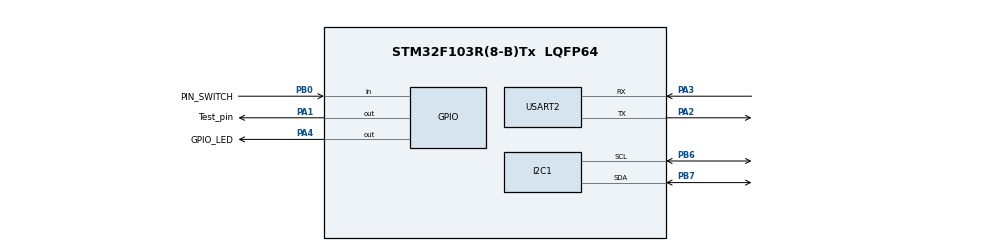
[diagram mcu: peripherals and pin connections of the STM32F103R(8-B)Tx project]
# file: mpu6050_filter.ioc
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FREERTOS.Tasks01=defaultTask,24,128,StartDefaultTask,Default,NULL,Dynamic,NULL,NULL;myTask02,8,128,StartTask02,Default,NULL,Dynamic,NULL,NULL;myTask03,8,128,StartTask03,Default,NULL,Dynamic,NULL,NULL
FREERTOS.configUSE_NEWLIB_REENTRANT=1
Mcu.Family=STM32F1
Mcu.Name=STM32F103R(8-B)Tx
Mcu.Package=LQFP64
NVIC.I2C1_ER_IRQn=true\:5\:0\:false\:false\:true\:true\:true\:true\:true
NVIC.I2C1_EV_IRQn=true\:5\:0\:false\:false\:true\:true\:true\:true\:true
NVIC.PriorityGroup=NVIC_PRIORITYGROUP_4
NVIC.TIM4_IRQn=true\:15\:0\:false\:false\:true\:false\:false\:true\:true
NVIC.TimeBase=TIM4_IRQn
NVIC.TimeBaseIP=TIM4
PA1.GPIO_Label=Test_pin
PA1.GPIO_ModeDefaultOutputPP=GPIO_MODE_OUTPUT_PP
PA1.GPIO_PuPd=GPIO_NOPULL
PA1.GPIO_Speed=GPIO_SPEED_FREQ_MEDIUM
PA1.PinState=GPIO_PIN_SET
PA1.Signal=GPIO_Output
PA13.Mode=Serial_Wire
PA13.Signal=SYS_JTMS-SWDIO
PA14.Mode=Serial_Wire
PA14.Signal=SYS_JTCK-SWCLK
PA2.Mode=Asynchronous
PA2.Signal=USART2_TX
PA3.Mode=Asynchronous
PA3.Signal=USART2_RX
PA4.GPIO_Label=GPIO_LED
PA4.PinState=GPIO_PIN_SET
PA4.Signal=GPIO_Output
PB0.GPIO_Label=PIN_SWITCH
PB0.GPIO_PuPd=GPIO_PULLUP
PB0.Signal=GPIO_Input
PB6.Mode=I2C
PB6.Signal=I2C1_SCL
PB7.Mode=I2C
PB7.Signal=I2C1_SDA
ProjectManager.HeapSize=0x200
ProjectManager.StackSize=0x400
ProjectManager.TargetToolchain=STM32CubeIDE
RCC.APB1Freq_Value=8000000
RCC.APB2Freq_Value=8000000
USART2.VirtualMode=VM_ASYNC
VP_FREERTOS_VS_CMSIS_V2.Mode=CMSIS_V2
VP_SYS_VS_tim4.Mode=TIM4
board=custom

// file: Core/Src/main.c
/* USER CODE BEGIN Header */
/**
  ******************************************************************************
  * @file           : main.c
  * @brief          : Main program body
  ******************************************************************************
  * @attention
  *
  * Copyright (c) 2024 STMicroelectronics.
  * All rights reserved.
  *
  * This software is licensed under terms that can be found in the LICENSE file
  * in the root directory of this software component.
  * If no LICENSE file comes with this software, it is provided AS-IS.
  *
  ******************************************************************************
  */
/* USER CODE END Header */
#include "main.h"
#include "cmsis_os.h"

/* USER CODE BEGIN Includes */
#include "MPU6050.h"
#include "math.h"
/* USER CODE END Includes */

I2C_HandleTypeDef hi2c1;

UART_HandleTypeDef huart2;

/* Definitions for defaultTask */
osThreadId_t defaultTaskHandle;
const osThreadAttr_t defaultTask_attributes = {
  .name = "defaultTask",
  .stack_size = 128 * 4,
  .priority = (osPriority_t) osPriorityNormal,
};
/* Definitions for myTask02 */
osThreadId_t myTask02Handle;
const osThreadAttr_t myTask02_attributes = {
  .name = "myTask02",
  .stack_size = 128 * 4,
  .priority = (osPriority_t) osPriorityLow,
};
/* Definitions for myTask03 */
osThreadId_t myTask03Handle;
const osThreadAttr_t myTask03_attributes = {
  .name = "myTask03",
  .stack_size = 128 * 4,
  .priority = (osPriority_t) osPriorityLow,
};

void SystemClock_Config(void);
static void MX_GPIO_Init(void);
static void MX_I2C1_Init(void);
static void MX_USART2_UART_Init(void);
void StartDefaultTask(void *argument);
void StartTask02(void *argument);
void StartTask03(void *argument);

/* USER CODE BEGIN 0 */
int16_t Ac_X0, Ac_Y0, Ac_Z0, Gy_X0, Gy_Y0, Gy_Z0;
float Ac_X1, Ac_Y1, Ac_Z1, Gy_X1, Gy_Y1, Gy_Z1;
float Ac_X2, Ac_Y2, Ac_Z2;
float Deg_X, Deg_Y, Deg_Z, Deg_XC, Deg_YC, Deg_ZC;
uint8_t MPU6050 = 0;
//#define MPU6050  MPU6050_DEFAULT_ADDRESS

void MPU6050_Write(uint8_t Address, uint8_t data){
  HAL_I2C_Mem_Write(&hi2c1, MPU6050, Address, 1, (uint8_t *)&data, 1, 10);
}

void MPU6050_Write_bits(uint8_t Address, uint8_t bitStart, uint8_t length, uint8_t data){
  uint8_t tmp = 0;
  HAL_I2C_Mem_Read(&hi2c1, MPU6050, Address, 1, (uint8_t *)&tmp, 1, 10);
  uint8_t mask = 0;
  switch(length){
    case 1: mask = 0x01; break;
    case 2: mask = 0x03; break;
    case 3: mask = 0x07; break;
    case 4: mask = 0x0F; break;
    case 5: mask = 0x1F; break;
    case 6: mask = 0x3F; break;
    case 7: mask = 0x7F; break;
    case 8: mask = 0xFF; break;
  }
  tmp &= ~(mask << bitStart);
  tmp |= (data << bitStart);
  HAL_I2C_Mem_Write(&hi2c1, MPU6050, Address, 1, (uint8_t *)&tmp, 1, 10);
}

uint8_t MPU6050_Read(uint8_t Address){
  uint8_t data;
  HAL_I2C_Mem_Read(&hi2c1, MPU6050, Address, 1, (uint8_t *)&data, 1, 10);
  return data;
}

void init_MPU6050(void){
  while(HAL_I2C_IsDeviceReady(&hi2c1, MPU6050, 10, 1000)!=HAL_OK) {
    MPU6050++;
  }
  //printf("MPU6050 I2C Address is 0x%02X(7bit value)\r\n", MPU6050>>1);

  uint8_t temp = MPU6050_Read(MPU6050_RA_WHO_AM_I);
  //printf("Who am I = 0x%02X\r\n", temp);
  //printf("MPU6050 Initialize..... \r\n");
  //printf("--------------------------------------------------------\r\n");

  HAL_Delay(100);
   /* Power Management 1, SLEEP Diasble*/
  MPU6050_Write_bits(MPU6050_RA_PWR_MGMT_1, MPU6050_PWR1_SLEEP_BIT, MPU6050_PWR1_SLEEP_LENGTH, DISABLE);
  HAL_Delay(10);
  /* Power Management 1, Internal 8MHz oscillator */
  MPU6050_Write_bits(MPU6050_RA_PWR_MGMT_1, MPU6050_PWR1_CLKSEL_BIT, MPU6050_PWR1_CLKSEL_LENGTH, MPU6050_CLOCK_INTERNAL);
  /* Gyroscope Configuration, ± 250 °/s, 131 LSB/°/s */
  MPU6050_Write_bits(MPU6050_RA_GYRO_CONFIG, MPU6050_GCONFIG_FS_SEL_BIT, MPU6050_GCONFIG_FS_SEL_LENGTH, MPU6050_GYRO_FS_250);
  /* Accelerometer Configuration, ± 2g, 16384 LSB/g */
  MPU6050_Write_bits(MPU6050_RA_ACCEL_CONFIG, MPU6050_ACONFIG_AFS_SEL_BIT, MPU6050_ACONFIG_AFS_SEL_LENGTH, MPU6050_ACCEL_FS_2);
}

void read_MPU6050_data(void){
  Ac_X0 = (MPU6050_Read(MPU6050_RA_ACCEL_XOUT_H)<<8) | MPU6050_Read(MPU6050_RA_ACCEL_XOUT_L);
  Ac_Y0 = (MPU6050_Read(MPU6050_RA_ACCEL_YOUT_H)<<8) | MPU6050_Read(MPU6050_RA_ACCEL_YOUT_L);
  Ac_Z0 = (MPU6050_Read(MPU6050_RA_ACCEL_ZOUT_H)<<8) | MPU6050_Read(MPU6050_RA_ACCEL_ZOUT_L);
  Gy_X0 = (MPU6050_Read(MPU6050_RA_GYRO_XOUT_H)<<8) | MPU6050_Read(MPU6050_RA_GYRO_XOUT_L);
  Gy_Y0 = (MPU6050_Read(MPU6050_RA_GYRO_YOUT_H)<<8) | MPU6050_Read(MPU6050_RA_GYRO_YOUT_L);
  Gy_Z0 = (MPU6050_Read(MPU6050_RA_GYRO_ZOUT_H)<<8) | MPU6050_Read(MPU6050_RA_GYRO_ZOUT_L);
}

int _write(int32_t file, uint8_t *ptr, int32_t len){
  HAL_UART_Transmit(&huart2, ptr, len, 10);
  return len;
}

/* USER CODE END 0 */

int main(void)
{

  /* MCU Configuration--------------------------------------------------------*/

  /* Reset of all peripherals, Initializes the Flash interface and the Systick. */
  HAL_Init();

  /* Configure the system clock */
  SystemClock_Config();

  /* Initialize all configured peripherals */
  MX_GPIO_Init();
  MX_I2C1_Init();
  MX_USART2_UART_Init();
  /* USER CODE BEGIN 2 */
  init_MPU6050();
  /* USER CODE END 2 */

  /* Init scheduler */
  osKernelInitialize();

  /* Create the thread(s) */
  /* creation of defaultTask */
  defaultTaskHandle = osThreadNew(StartDefaultTask, NULL, &defaultTask_attributes);

  /* creation of myTask02 */
  myTask02Handle = osThreadNew(StartTask02, NULL, &myTask02_attributes);

  /* creation of myTask03 */
  myTask03Handle = osThreadNew(StartTask03, NULL, &myTask03_attributes);

  /* Start scheduler */
  osKernelStart();

  /* We should never get here as control is now taken by the scheduler */

  /* Infinite loop */
  while (1)
  {

  }
}

void SystemClock_Config(void)
{
  RCC_OscInitTypeDef RCC_OscInitStruct = {0};
  RCC_ClkInitTypeDef RCC_ClkInitStruct = {0};

  /** Initializes the RCC Oscillators according to the specified parameters
  * in the RCC_OscInitTypeDef structure.
  */
  RCC_OscInitStruct.OscillatorType = RCC_OSCILLATORTYPE_HSI;
  RCC_OscInitStruct.HSIState = RCC_HSI_ON;
  RCC_OscInitStruct.HSICalibrationValue = RCC_HSICALIBRATION_DEFAULT;
  RCC_OscInitStruct.PLL.PLLState = RCC_PLL_NONE;
  if (HAL_RCC_OscConfig(&RCC_OscInitStruct) != HAL_OK)
  {
    Error_Handler();
  }

  /** Initializes the CPU, AHB and APB buses clocks
  */
  RCC_ClkInitStruct.ClockType = RCC_CLOCKTYPE_HCLK|RCC_CLOCKTYPE_SYSCLK
                              |RCC_CLOCKTYPE_PCLK1|RCC_CLOCKTYPE_PCLK2;
  RCC_ClkInitStruct.SYSCLKSource = RCC_SYSCLKSOURCE_HSI;
  RCC_ClkInitStruct.AHBCLKDivider = RCC_SYSCLK_DIV1;
  RCC_ClkInitStruct.APB1CLKDivider = RCC_HCLK_DIV1;
  RCC_ClkInitStruct.APB2CLKDivider = RCC_HCLK_DIV1;

  if (HAL_RCC_ClockConfig(&RCC_ClkInitStruct, FLASH_LATENCY_0) != HAL_OK)
  {
    Error_Handler();
  }
}

static void MX_I2C1_Init(void)
{

  hi2c1.Instance = I2C1;
  hi2c1.Init.ClockSpeed = 100000;
  hi2c1.Init.DutyCycle = I2C_DUTYCYCLE_2;
  hi2c1.Init.OwnAddress1 = 0;
  hi2c1.Init.AddressingMode = I2C_ADDRESSINGMODE_7BIT;
  hi2c1.Init.DualAddressMode = I2C_DUALADDRESS_DISABLE;
  hi2c1.Init.OwnAddress2 = 0;
  hi2c1.Init.GeneralCallMode = I2C_GENERALCALL_DISABLE;
  hi2c1.Init.NoStretchMode = I2C_NOSTRETCH_DISABLE;
  if (HAL_I2C_Init(&hi2c1) != HAL_OK)
  {
    Error_Handler();
  }

}

static void MX_USART2_UART_Init(void)
{

  huart2.Instance = USART2;
  huart2.Init.BaudRate = 115200;
  huart2.Init.WordLength = UART_WORDLENGTH_8B;
  huart2.Init.StopBits = UART_STOPBITS_1;
  huart2.Init.Parity = UART_PARITY_NONE;
  huart2.Init.Mode = UART_MODE_TX_RX;
  huart2.Init.HwFlowCtl = UART_HWCONTROL_NONE;
  huart2.Init.OverSampling = UART_OVERSAMPLING_16;
  if (HAL_UART_Init(&huart2) != HAL_OK)
  {
    Error_Handler();
  }

}

static void MX_GPIO_Init(void)
{
  GPIO_InitTypeDef GPIO_InitStruct = {0};

  /* GPIO Ports Clock Enable */
  __HAL_RCC_GPIOA_CLK_ENABLE();
  __HAL_RCC_GPIOB_CLK_ENABLE();

  /*Configure GPIO pin Output Level */
  HAL_GPIO_WritePin(GPIOA, Test_pin_Pin|GPIO_LED_Pin, GPIO_PIN_SET);

  /*Configure GPIO pin : Test_pin_Pin */
  GPIO_InitStruct.Pin = Test_pin_Pin;
  GPIO_InitStruct.Mode = GPIO_MODE_OUTPUT_PP;
  GPIO_InitStruct.Pull = GPIO_NOPULL;
  GPIO_InitStruct.Speed = GPIO_SPEED_FREQ_MEDIUM;
  HAL_GPIO_Init(Test_pin_GPIO_Port, &GPIO_InitStruct);

  /*Configure GPIO pin : GPIO_LED_Pin */
  GPIO_InitStruct.Pin = GPIO_LED_Pin;
  GPIO_InitStruct.Mode = GPIO_MODE_OUTPUT_PP;
  GPIO_InitStruct.Pull = GPIO_NOPULL;
  GPIO_InitStruct.Speed = GPIO_SPEED_FREQ_LOW;
  HAL_GPIO_Init(GPIO_LED_GPIO_Port, &GPIO_InitStruct);

  /*Configure GPIO pin : PIN_SWITCH_Pin */
  GPIO_InitStruct.Pin = PIN_SWITCH_Pin;
  GPIO_InitStruct.Mode = GPIO_MODE_INPUT;
  GPIO_InitStruct.Pull = GPIO_PULLUP;
  HAL_GPIO_Init(PIN_SWITCH_GPIO_Port, &GPIO_InitStruct);

}

void StartDefaultTask(void *argument)
{
  for(;;)
  {
    osDelay(1);
  }
}

void StartTask02(void *argument)
{
  /* USER CODE BEGIN StartTask02 */
  /* Infinite loop */
  for(;;)
  {

	  HAL_GPIO_WritePin(Test_pin_GPIO_Port, Test_pin_Pin, 1);
	  HAL_Delay(5000);
	  HAL_GPIO_WritePin(Test_pin_GPIO_Port, Test_pin_Pin, 0);
	  HAL_Delay(5000);
	  osDelay(1);
  }
  /* USER CODE END StartTask02 */
}

void StartTask03(void *argument)
{
  /* USER CODE BEGIN StartTask03 */
  /* Infinite loop */
  for(;;)
  {

	  //init_MPU6050();		// testing

	  static uint16_t cnt=1;

	  read_MPU6050_data();

	  Ac_X1 = (float)Ac_X0 / 16384.0;
	  Ac_Y1 = (float)Ac_Y0 / 16384.0;
	  Ac_Z1 = (float)Ac_Z0 / 16384.0;
	  Gy_X1 = (float)Gy_X0 / 131.0;
	  Gy_Y1 = (float)Gy_Y0 / 131.0;
	  Gy_Z1 = (float)Gy_Z0 / 131.0;

	  Ac_X2 = Ac_X2 * ((float)cnt-1) / (float)cnt + Ac_X1 / (float)cnt;
	  Ac_Y2 = Ac_Y2 * ((float)cnt-1) / (float)cnt + Ac_Y1 / (float)cnt;
	  Ac_Z2 = Ac_Z2 * ((float)cnt-1) / (float)cnt + Ac_Z1 / (float)cnt;

	  Deg_X = atan(Ac_Y1 / sqrt(pow(Ac_X1, 2) + pow(Ac_Z1, 2))) * 180.0 / M_PI;
	  Deg_Y = atan(Ac_X1 / sqrt(pow(Ac_Y1, 2) + pow(Ac_Z1, 2))) * 180.0 / M_PI;
	  Deg_Z = atan(sqrt(pow(Ac_X1, 2) + pow(Ac_Y1, 2)) / Ac_Z1) * 180.0 / M_PI;

	  /* Complementary filter tess */
	  Deg_XC = 0.98 * (Deg_XC + Gy_X1 * 0.005) + 0.02 * Deg_X;
	  Deg_YC = 0.98 * (Deg_YC + Gy_Y1 * 0.005) + 0.02 * Deg_Y;
	  Deg_ZC = 0.98 * Deg_ZC + 0.02 * Deg_Z;

	  if(++cnt>20) cnt=20;
    osDelay(1);
  }
  /* USER CODE END StartTask03 */
}

void HAL_TIM_PeriodElapsedCallback(TIM_HandleTypeDef *htim)
{
  if (htim->Instance == TIM4) {
    HAL_IncTick();
  }
}

void Error_Handler(void)
{
  __disable_irq();
  while (1)
  {
  }
}
